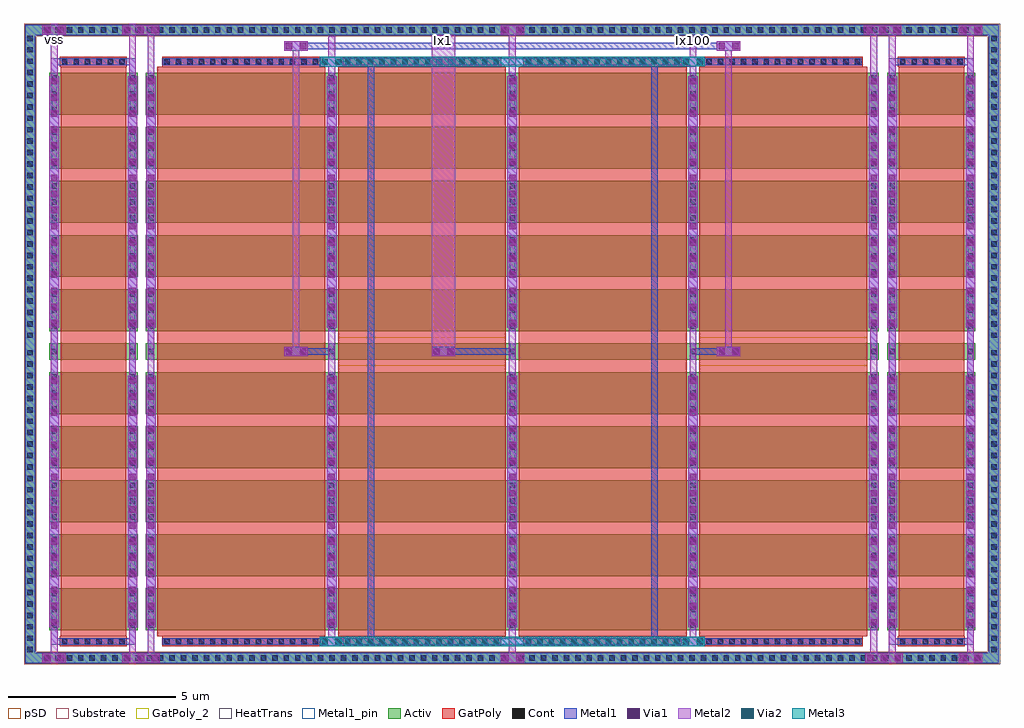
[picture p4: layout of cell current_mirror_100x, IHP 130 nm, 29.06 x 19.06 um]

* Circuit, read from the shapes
.subckt current_mirror_100x Ix1 Ix100 vss
XM1 vss vss vss vss sg13_lv_nmos w=1.25u l=1.95u m=20
XM2 vss vss vss vss sg13_lv_nmos w=0.5u l=1.95u m=2
XM3 Ix100 Ix100 vss vss sg13_lv_nmos w=1.25u l=5u m=40
XM4 n1 Ix100 vss vss sg13_lv_nmos w=0.5u l=5u m=2
XM5 Ix1 Ix100 n1 vss sg13_lv_nmos w=0.5u l=5u m=2
.ends

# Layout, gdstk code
import gdstk
lib = gdstk.Library(unit=1e-6, precision=1e-09)
def R(c, l, rs):  # rectangles x0, y0, x1, y1
    for r in rs: c.add(gdstk.rectangle(r[:2], r[2:], *l))
def A(c, l, x, y, w, h, nx, ny, dx, dy):  # array of equal rectangles
    R(c, l, [(x+i*dx, y+j*dy, x+i*dx+w, y+j*dy+h) for i in range(nx) for j in range(ny)])
def P(c, l, *ps):  # polygons
    for p in ps: c.add(gdstk.Polygon(p, *l))
Activ = (1, 0)
GatPoly = (5, 0)
GatPoly_2 = (5, 2)
Cont = (6, 0)
Metal1 = (8, 0)
Metal1_pin = (8, 2)
Metal2 = (10, 0)
pSD = (14, 0)
Via1 = (19, 0)
Via2 = (29, 0)
Metal3 = (30, 0)
Substrate = (40, 0)
HeatTrans = (51, 0)

nmos_9 = lib.new_cell('nmos$9')
A(nmos_9, Activ, 0, 0, 0.3, 0.3, 3, 1, 5.38, 0)
R(nmos_9, Activ, [(0,0,11.06,1.25)])
R(nmos_9, GatPoly, [(0.34,-0.18,5.34,1.43), (5.72,-0.18,10.72,1.43)])
R(nmos_9, GatPoly_2, [(0.34,-0.18,5.34,1.43)])
A(nmos_9, Cont, 0.07, 0.07, 0.16, 0.16, 3, 3, 5.38, 0.475)
A(nmos_9, Metal1, 0.07, 0, 0.16, 1.25, 3, 1, 5.38, 0)
R(nmos_9, Metal1_pin, [(0.07,0,0.23,1.25), (5.45,0,5.61,1.25)])
R(nmos_9, HeatTrans, [(0.34,-0.18,5.34,1.43), (5.72,-0.18,10.72,1.43)])
nmos_9.add(gdstk.Label('nmos', (2.84,0.625), layer=63, texttype=0))
nmos_9.add(gdstk.Label('nmos', (2.84,0.625), layer=51, texttype=0))
nmos_9.add(gdstk.Label('nmos', (8.22,0.625), layer=51, texttype=0))

nmos_10 = lib.new_cell('nmos$10')
R(nmos_10, Activ, [(0,0,0.3,0.3), (0,0,5.68,0.5), (5.38,0,5.68,0.3)])
R(nmos_10, GatPoly, [(0.34,-0.18,5.34,0.68)])
R(nmos_10, GatPoly_2, [(0.34,-0.18,5.34,0.68)])
R(nmos_10, Cont, [(0.07,0.17,0.23,0.33), (5.45,0.17,5.61,0.33)])
R(nmos_10, Metal1, [(0.07,0,0.23,0.5), (5.45,0,5.61,0.5)])
R(nmos_10, Metal1_pin, [(0.07,0,0.23,0.5), (5.45,0,5.61,0.5)])
R(nmos_10, HeatTrans, [(0.34,-0.18,5.34,0.68)])
nmos_10.add(gdstk.Label('nmos', (2.84,0.25), layer=63, texttype=0))
nmos_10.add(gdstk.Label('nmos', (2.84,0.25), layer=51, texttype=0))

via_stack_11 = lib.new_cell('via_stack$11')
R(via_stack_11, Metal1, [(-0.145,-3.745,0.145,3.745)])
R(via_stack_11, Metal2, [(-0.145,-3.745,0.145,3.745)])
A(via_stack_11, Via1, -0.095, -3.695, 0.19, 0.19, 1, 16, 0, 0.48)

via_stack_2 = lib.new_cell('via_stack$2')
R(via_stack_2, Metal1, [(-0.35,-0.145,0.35,0.145)])
R(via_stack_2, Metal2, [(-0.35,-0.145,0.35,0.145)])
R(via_stack_2, Via1, [(-0.3,-0.095,-0.11,0.095), (0.11,-0.095,0.3,0.095)])

nmos_11 = lib.new_cell('nmos$11')
R(nmos_11, Activ, [(0,0,0.3,0.3), (0,0,2.63,0.5), (2.33,0,2.63,0.3)])
R(nmos_11, GatPoly, [(0.34,-0.18,2.29,0.68)])
R(nmos_11, GatPoly_2, [(0.34,-0.18,2.29,0.68)])
R(nmos_11, Cont, [(0.07,0.17,0.23,0.33), (2.4,0.17,2.56,0.33)])
R(nmos_11, Metal1, [(0.07,0,0.23,0.5), (2.4,0,2.56,0.5)])
R(nmos_11, Metal1_pin, [(0.07,0,0.23,0.5), (2.4,0,2.56,0.5)])
R(nmos_11, HeatTrans, [(0.34,-0.18,2.29,0.68)])
nmos_11.add(gdstk.Label('nmos', (1.315,0.25), layer=63, texttype=0))
nmos_11.add(gdstk.Label('nmos', (1.315,0.25), layer=51, texttype=0))

via_stack_12 = lib.new_cell('via_stack$12')
R(via_stack_12, Metal1, [(-0.555,-0.145,0.555,0.145)])
R(via_stack_12, Metal2, [(-0.555,-0.145,0.555,0.145)])
A(via_stack_12, Via1, -0.505, -0.095, 0.19, 0.19, 3, 1, 0.41, 0)

via_stack_1 = lib.new_cell('via_stack$1')
R(via_stack_1, Metal1, [(-0.35,-0.145,0.35,0.145)])
R(via_stack_1, Metal2, [(-0.35,-0.145,0.35,0.145)])
R(via_stack_1, Via1, [(-0.3,-0.095,-0.11,0.095), (0.11,-0.095,0.3,0.095)])
R(via_stack_1, Via2, [(-0.3,-0.095,-0.11,0.095), (0.11,-0.095,0.3,0.095)])
R(via_stack_1, Metal3, [(-0.35,-0.145,0.35,0.145)])

viagpcont_m1_3 = lib.new_cell('ViaGPCont_M1$3')
R(viagpcont_m1_3, GatPoly, [(-1,-0.15,1,0.15)])
A(viagpcont_m1_3, Cont, -0.93, -0.08, 0.16, 0.16, 6, 1, 0.34, 0)
R(viagpcont_m1_3, Metal1, [(-0.98,-0.08,0.98,0.08)])

viagpcont_m1 = lib.new_cell('ViaGPCont_M1')
R(viagpcont_m1, GatPoly, [(-2.36,-0.15,2.36,0.15)])
A(viagpcont_m1, Cont, -2.29, -0.08, 0.16, 0.16, 14, 1, 0.34, 0)
R(viagpcont_m1, Metal1, [(-2.34,-0.08,2.34,0.08)])

nmos_12 = lib.new_cell('nmos$12')
R(nmos_12, Activ, [(0,0,0.3,0.3), (0,0,2.63,1.25), (2.33,0,2.63,0.3)])
R(nmos_12, GatPoly, [(0.34,-0.18,2.29,1.43)])
R(nmos_12, GatPoly_2, [(0.34,-0.18,2.29,1.43)])
A(nmos_12, Cont, 0.07, 0.07, 0.16, 0.16, 1, 3, 0, 0.475)
A(nmos_12, Cont, 2.4, 0.07, 0.16, 0.16, 1, 3, 0, 0.475)
R(nmos_12, Metal1, [(0.07,0,0.23,1.25), (2.4,0,2.56,1.25)])
R(nmos_12, Metal1_pin, [(0.07,0,0.23,1.25), (2.4,0,2.56,1.25)])
R(nmos_12, HeatTrans, [(0.34,-0.18,2.29,1.43)])
nmos_12.add(gdstk.Label('nmos', (1.315,0.625), layer=63, texttype=0))
nmos_12.add(gdstk.Label('nmos', (1.315,0.625), layer=51, texttype=0))

guardring_2 = lib.new_cell('Guardring$2')
P(guardring_2, Activ, [(-14.5,-9.5),(-14.5,9.2),(-14.2,9.2),(-14.2,-9.2),(14.2,-9.2),(14.2,9.2),(-14.5,9.2),(-14.5,9.5),(14.5,9.5),(14.5,-9.5)])
A(guardring_2, Cont, -13.94, -9.43, 0.16, 0.16, 41, 2, 0.34, 18.7)
A(guardring_2, Cont, 0.18, -9.43, 0.16, 0.16, 41, 2, 0.34, 18.7)
A(guardring_2, Cont, -14.43, -9.18, 0.16, 0.16, 1, 27, 0, 0.34)
A(guardring_2, Cont, 14.27, -9.18, 0.16, 0.16, 1, 27, 0, 0.34)
A(guardring_2, Cont, -14.43, 0.18, 0.16, 0.16, 1, 27, 0, 0.34)
A(guardring_2, Cont, 14.27, 0.18, 0.16, 0.16, 1, 27, 0, 0.34)
P(guardring_2, Metal1, [(-14.5,-9.5),(-14.5,9.2),(-14.2,9.2),(-14.2,-9.2),(14.2,-9.2),(14.2,9.2),(-14.5,9.2),(-14.5,9.5),(14.5,9.5),(14.5,-9.5)])
P(guardring_2, pSD, [(-14.53,-9.53),(-14.53,9.17),(-14.17,9.17),(-14.17,-9.17),(14.17,-9.17),(14.17,9.17),(-14.53,9.17),(-14.53,9.53),(14.53,9.53),(14.53,-9.53)])
P(guardring_2, Substrate, [(-14.53,-9.53),(-14.53,9.17),(-14.17,9.17),(-14.17,-9.17),(14.17,-9.17),(14.17,9.17),(-14.53,9.17),(-14.53,9.53),(14.53,9.53),(14.53,-9.53)])

current_mirror_100x = lib.new_cell('current_mirror_100x')
current_mirror_100x.add(gdstk.FlexPath([(3.23,1.005),(3.23,17.605)], 0.2, ends="flush", simple_path=True, layer=8, datatype=0))  # Metal1
current_mirror_100x.add(gdstk.FlexPath([(3.045,0.675),(0.8,0.675)], 0.2, ends="flush", simple_path=True, layer=8, datatype=0))  # Metal1
current_mirror_100x.add(gdstk.FlexPath([(3.045,17.935),(1.065,17.935)], 0.2, ends="flush", simple_path=True, layer=8, datatype=0))  # Metal1
current_mirror_100x.add(gdstk.FlexPath([(3.045,17.935),(0.8,17.935)], 0.2, ends="flush", simple_path=True, layer=8, datatype=0))  # Metal1
current_mirror_100x.add(gdstk.FlexPath([(0.9,17.605),(0.9,18.035)], 0.2, ends="flush", simple_path=True, layer=8, datatype=0))  # Metal1
current_mirror_100x.add(gdstk.FlexPath([(3.23,17.605),(3.23,18.035)], 0.2, ends="flush", simple_path=True, layer=8, datatype=0))  # Metal1
current_mirror_100x.add(gdstk.FlexPath([(3.045,17.935),(3.33,17.935)], 0.2, ends="flush", simple_path=True, layer=8, datatype=0))  # Metal1
current_mirror_100x.add(gdstk.FlexPath([(0.9,1.005),(0.9,0.575)], 0.2, ends="flush", simple_path=True, layer=8, datatype=0))  # Metal1
current_mirror_100x.add(gdstk.FlexPath([(3.23,1.005),(3.23,0.575)], 0.2, ends="flush", simple_path=True, layer=8, datatype=0))  # Metal1
current_mirror_100x.add(gdstk.FlexPath([(3.045,0.675),(3.33,0.675)], 0.2, ends="flush", simple_path=True, layer=8, datatype=0))  # Metal1
current_mirror_100x.add(gdstk.FlexPath([(0.9,17.605),(0.9,9.055),(0.9,8.695)], 0.2, ends="flush", simple_path=True, layer=8, datatype=0))  # Metal1
current_mirror_100x.add(gdstk.FlexPath([(28.18,9.055),(28.18,8.695),(28.18,8.695)], 0.2, ends="flush", simple_path=True, layer=8, datatype=0))  # Metal1
current_mirror_100x.add(gdstk.FlexPath([(25.85,9.915),(25.85,1.005),(25.85,1.005)], 0.2, ends="flush", simple_path=True, layer=8, datatype=0))  # Metal1
current_mirror_100x.add(gdstk.FlexPath([(25.85,9.915),(25.85,17.605)], 0.2, ends="flush", simple_path=True, layer=8, datatype=0))  # Metal1
current_mirror_100x.add(gdstk.FlexPath([(25.75,0.675),(28.28,0.675)], 0.2, ends="flush", simple_path=True, layer=8, datatype=0))  # Metal1
current_mirror_100x.add(gdstk.FlexPath([(28.18,1.005),(28.18,0.575)], 0.2, ends="flush", simple_path=True, layer=8, datatype=0))  # Metal1
current_mirror_100x.add(gdstk.FlexPath([(25.85,1.005),(25.85,0.575)], 0.2, ends="flush", simple_path=True, layer=8, datatype=0))  # Metal1
current_mirror_100x.add(gdstk.FlexPath([(25.75,17.935),(28.28,17.935)], 0.2, ends="flush", simple_path=True, layer=8, datatype=0))  # Metal1
current_mirror_100x.add(gdstk.FlexPath([(28.18,17.605),(28.18,18.035)], 0.2, ends="flush", simple_path=True, layer=8, datatype=0))  # Metal1
current_mirror_100x.add(gdstk.FlexPath([(25.85,17.605),(25.85,18.035)], 0.2, ends="flush", simple_path=True, layer=8, datatype=0))  # Metal1
current_mirror_100x.add(gdstk.FlexPath([(8,18.405),(21.08,18.405)], 0.2, ends="flush", simple_path=True, layer=8, datatype=0))  # Metal1
current_mirror_100x.add(gdstk.FlexPath([(10.33,17.935),(10.33,0.575)], 0.2, ends="flush", simple_path=True, layer=8, datatype=0))  # Metal1
current_mirror_100x.add(gdstk.FlexPath([(18.77,17.935),(18.77,0.575)], 0.2, ends="flush", simple_path=True, layer=8, datatype=0))  # Metal1
current_mirror_100x.add(gdstk.FlexPath([(14.54,9.305),(12.14,9.305)], 0.2, ends="flush", simple_path=True, layer=8, datatype=0))  # Metal1
current_mirror_100x.add(gdstk.FlexPath([(9.16,9.305),(8.1,9.305)], 0.2, ends="flush", simple_path=True, layer=8, datatype=0))  # Metal1
current_mirror_100x.add(gdstk.FlexPath([(20.98,9.305),(19.92,9.305)], 0.2, ends="flush", simple_path=True, layer=8, datatype=0))  # Metal1
current_mirror_100x.add(gdstk.FlexPath([(28.18,8.695),(28.18,1.005)], 0.2, ends="flush", simple_path=True, layer=8, datatype=0))  # Metal1
current_mirror_100x.add(gdstk.FlexPath([(4.13,0.675),(24.95,0.675)], 0.2, ends="flush", simple_path=True, layer=8, datatype=0))  # Metal1
current_mirror_100x.add(gdstk.FlexPath([(25.3,8.695),(25.3,1.005)], 0.2, ends="flush", simple_path=True, layer=8, datatype=0))  # Metal1
current_mirror_100x.add(gdstk.FlexPath([(25.3,17.605),(25.3,9.055)], 0.2, ends="flush", simple_path=True, layer=8, datatype=0))  # Metal1
current_mirror_100x.add(gdstk.FlexPath([(28.18,17.605),(28.18,9.055)], 0.2, ends="flush", simple_path=True, layer=8, datatype=0))  # Metal1
current_mirror_100x.add(gdstk.FlexPath([(4.13,17.935),(24.95,17.935)], 0.2, ends="flush", simple_path=True, layer=8, datatype=0))  # Metal1
current_mirror_100x.add(gdstk.FlexPath([(3.78,17.605),(3.78,9.915)], 0.2, ends="flush", simple_path=True, layer=8, datatype=0))  # Metal1
current_mirror_100x.add(gdstk.FlexPath([(9.16,17.605),(9.16,9.915)], 0.2, ends="flush", simple_path=True, layer=8, datatype=0))  # Metal1
current_mirror_100x.add(gdstk.FlexPath([(14.54,17.605),(14.54,9.915)], 0.2, ends="flush", simple_path=True, layer=8, datatype=0))  # Metal1
current_mirror_100x.add(gdstk.FlexPath([(19.92,17.605),(19.92,9.915)], 0.2, ends="flush", simple_path=True, layer=8, datatype=0))  # Metal1
current_mirror_100x.add(gdstk.FlexPath([(3.78,8.695),(3.78,1.005)], 0.2, ends="flush", simple_path=True, layer=8, datatype=0))  # Metal1
current_mirror_100x.add(gdstk.FlexPath([(9.16,8.695),(9.16,1.005)], 0.2, ends="flush", simple_path=True, layer=8, datatype=0))  # Metal1
current_mirror_100x.add(gdstk.FlexPath([(14.54,8.695),(14.54,1.005)], 0.2, ends="flush", simple_path=True, layer=8, datatype=0))  # Metal1
current_mirror_100x.add(gdstk.FlexPath([(19.92,8.695),(19.92,1.005)], 0.2, ends="flush", simple_path=True, layer=8, datatype=0))  # Metal1
current_mirror_100x.add(gdstk.FlexPath([(3.78,9.055),(3.78,9.915)], 0.2, ends="flush", simple_path=True, layer=8, datatype=0))  # Metal1
current_mirror_100x.add(gdstk.FlexPath([(0.9,8.695),(0.9,1.005)], 0.2, ends="flush", simple_path=True, layer=8, datatype=0))  # Metal1
current_mirror_100x.add(gdstk.FlexPath([(3.23,17.605),(3.23,19.06)], 0.2, ends="flush", simple_path=True, layer=10, datatype=0))  # Metal2
current_mirror_100x.add(gdstk.FlexPath([(3.23,17.605),(3.23,9.915)], 0.2, ends="flush", simple_path=True, layer=10, datatype=0))  # Metal2
current_mirror_100x.add(gdstk.FlexPath([(3.23,9.915),(3.23,8.695)], 0.2, ends="flush", simple_path=True, layer=10, datatype=0))  # Metal2
current_mirror_100x.add(gdstk.FlexPath([(3.23,8.695),(3.23,0.03)], 0.2, ends="flush", simple_path=True, layer=10, datatype=0))  # Metal2
current_mirror_100x.add(gdstk.FlexPath([(0.9,8.695),(0.9,0.03)], 0.2, ends="flush", simple_path=True, layer=10, datatype=0))  # Metal2
current_mirror_100x.add(gdstk.FlexPath([(25.85,17.605),(25.85,9.915)], 0.2, ends="flush", simple_path=True, layer=10, datatype=0))  # Metal2
current_mirror_100x.add(gdstk.FlexPath([(25.85,17.605),(25.85,19.025)], 0.2, ends="flush", simple_path=True, layer=10, datatype=0))  # Metal2
current_mirror_100x.add(gdstk.FlexPath([(25.85,9.915),(25.85,8.695),(25.85,8.695)], 0.2, ends="flush", simple_path=True, layer=10, datatype=0))  # Metal2
current_mirror_100x.add(gdstk.FlexPath([(25.85,8.695),(25.85,0.03)], 0.2, ends="flush", simple_path=True, layer=10, datatype=0))  # Metal2
current_mirror_100x.add(gdstk.FlexPath([(25.85,17.605),(25.85,9.915)], 0.2, ends="flush", simple_path=True, layer=10, datatype=0))  # Metal2
current_mirror_100x.add(gdstk.FlexPath([(28.18,8.695),(28.18,0.03)], 0.2, ends="flush", simple_path=True, layer=10, datatype=0))  # Metal2
current_mirror_100x.add(gdstk.FlexPath([(0.9,17.605),(0.9,19.06)], 0.2, ends="flush", simple_path=True, layer=10, datatype=0))  # Metal2
current_mirror_100x.add(gdstk.FlexPath([(12.49,9.16),(12.49,18.73)], 0.7, ends="flush", simple_path=True, layer=10, datatype=0))  # Metal2
current_mirror_100x.add(gdstk.FlexPath([(19.92,17.605),(19.92,18.7)], 0.2, ends="flush", simple_path=True, layer=10, datatype=0))  # Metal2
current_mirror_100x.add(gdstk.FlexPath([(9.16,17.605),(9.16,17.245)], 0.2, ends="flush", simple_path=True, layer=10, datatype=0))  # Metal2
current_mirror_100x.add(gdstk.FlexPath([(9.16,17.605),(9.16,18.7)], 0.2, ends="flush", simple_path=True, layer=10, datatype=0))  # Metal2
current_mirror_100x.add(gdstk.FlexPath([(8.1,9.305),(8.1,18.405)], 0.2, ends="flush", simple_path=True, layer=10, datatype=0))  # Metal2
current_mirror_100x.add(gdstk.FlexPath([(20.98,9.305),(20.98,18.405)], 0.2, ends="flush", simple_path=True, layer=10, datatype=0))  # Metal2
current_mirror_100x.add(gdstk.FlexPath([(14.54,17.605),(14.54,18.465),(14.54,19.025)], 0.2, ends="flush", simple_path=True, layer=10, datatype=0))  # Metal2
current_mirror_100x.add(gdstk.FlexPath([(3.78,17.605),(3.78,19.025)], 0.2, ends="flush", simple_path=True, layer=10, datatype=0))  # Metal2
current_mirror_100x.add(gdstk.FlexPath([(28.18,17.605),(28.18,19.025)], 0.2, ends="flush", simple_path=True, layer=10, datatype=0))  # Metal2
current_mirror_100x.add(gdstk.FlexPath([(25.3,17.605),(25.3,19.025)], 0.2, ends="flush", simple_path=True, layer=10, datatype=0))  # Metal2
current_mirror_100x.add(gdstk.FlexPath([(9.16,8.695),(9.16,0.575)], 0.2, ends="flush", simple_path=True, layer=10, datatype=0))  # Metal2
current_mirror_100x.add(gdstk.FlexPath([(19.92,1.005),(19.92,0.575)], 0.2, ends="flush", simple_path=True, layer=10, datatype=0))  # Metal2
current_mirror_100x.add(gdstk.FlexPath([(3.78,1.005),(3.78,0.035)], 0.2, ends="flush", simple_path=True, layer=10, datatype=0))  # Metal2
current_mirror_100x.add(gdstk.FlexPath([(14.54,1.005),(14.54,0.035)], 0.2, ends="flush", simple_path=True, layer=10, datatype=0))  # Metal2
current_mirror_100x.add(gdstk.FlexPath([(25.3,1.005),(25.3,0.035)], 0.2, ends="flush", simple_path=True, layer=10, datatype=0))  # Metal2
current_mirror_100x.add(gdstk.FlexPath([(28.18,17.605),(28.18,9.915)], 0.2, ends="flush", simple_path=True, layer=10, datatype=0))  # Metal2
current_mirror_100x.add(gdstk.FlexPath([(28.18,9.915),(28.18,8.695),(28.18,8.695)], 0.2, ends="flush", simple_path=True, layer=10, datatype=0))  # Metal2
current_mirror_100x.add(gdstk.FlexPath([(0.9,17.605),(0.9,9.915)], 0.2, ends="flush", simple_path=True, layer=10, datatype=0))  # Metal2
current_mirror_100x.add(gdstk.FlexPath([(0.9,9.915),(0.9,8.695)], 0.2, ends="flush", simple_path=True, layer=10, datatype=0))  # Metal2
current_mirror_100x.add(gdstk.FlexPath([(9.16,17.605),(9.16,17.59),(9.16,9.915)], 0.2, ends="flush", simple_path=True, layer=10, datatype=0))  # Metal2
current_mirror_100x.add(gdstk.FlexPath([(19.92,17.605),(19.92,9.915)], 0.2, ends="flush", simple_path=True, layer=10, datatype=0))  # Metal2
current_mirror_100x.add(gdstk.FlexPath([(3.78,17.605),(3.78,9.915)], 0.2, ends="flush", simple_path=True, layer=10, datatype=0))  # Metal2
current_mirror_100x.add(gdstk.FlexPath([(14.54,17.605),(14.54,9.915)], 0.2, ends="flush", simple_path=True, layer=10, datatype=0))  # Metal2
current_mirror_100x.add(gdstk.FlexPath([(25.3,17.605),(25.3,9.915)], 0.2, ends="flush", simple_path=True, layer=10, datatype=0))  # Metal2
current_mirror_100x.add(gdstk.FlexPath([(3.78,8.695),(3.78,1.005)], 0.2, ends="flush", simple_path=True, layer=10, datatype=0))  # Metal2
current_mirror_100x.add(gdstk.FlexPath([(14.54,8.695),(14.54,1.005)], 0.2, ends="flush", simple_path=True, layer=10, datatype=0))  # Metal2
current_mirror_100x.add(gdstk.FlexPath([(25.3,8.695),(25.3,1.005)], 0.2, ends="flush", simple_path=True, layer=10, datatype=0))  # Metal2
current_mirror_100x.add(gdstk.FlexPath([(3.78,9.915),(3.78,8.695)], 0.2, ends="flush", simple_path=True, layer=10, datatype=0))  # Metal2
current_mirror_100x.add(gdstk.FlexPath([(19.92,8.695),(19.92,1.005)], 0.2, ends="flush", simple_path=True, layer=10, datatype=0))  # Metal2
current_mirror_100x.add(gdstk.FlexPath([(19.92,9.915),(19.92,8.695)], 0.2, ends="flush", simple_path=True, layer=10, datatype=0))  # Metal2
current_mirror_100x.add(gdstk.FlexPath([(9.16,9.915),(9.16,8.695)], 0.2, ends="flush", simple_path=True, layer=10, datatype=0))  # Metal2
current_mirror_100x.add(gdstk.FlexPath([(14.54,9.915),(14.54,8.695)], 0.2, ends="flush", simple_path=True, layer=10, datatype=0))  # Metal2
current_mirror_100x.add(gdstk.FlexPath([(25.3,9.915),(25.3,8.695),(25.3,8.695)], 0.2, ends="flush", simple_path=True, layer=10, datatype=0))  # Metal2
current_mirror_100x.add(gdstk.FlexPath([(9.06,17.935),(20.02,17.935)], 0.29, ends="flush", simple_path=True, layer=30, datatype=0))  # Metal3
current_mirror_100x.add(gdstk.FlexPath([(9.06,0.675),(20.02,0.675)], 0.29, ends="flush", simple_path=True, layer=30, datatype=0))  # Metal3
current_mirror_100x.add(gdstk.Reference(nmos_9, (3.63,14.745)))
current_mirror_100x.add(gdstk.Reference(nmos_9, (3.63,11.525)))
current_mirror_100x.add(gdstk.Reference(nmos_9, (3.63,13.135)))
current_mirror_100x.add(gdstk.Reference(nmos_9, (14.39,14.745)))
current_mirror_100x.add(gdstk.Reference(nmos_9, (14.39,16.355)))
current_mirror_100x.add(gdstk.Reference(nmos_9, (14.39,11.525)))
current_mirror_100x.add(gdstk.Reference(nmos_9, (14.39,13.135)))
current_mirror_100x.add(gdstk.Reference(nmos_9, (14.39,9.915)))
current_mirror_100x.add(gdstk.Reference(nmos_9, (14.39,1.005)))
current_mirror_100x.add(gdstk.Reference(nmos_9, (14.39,4.225)))
current_mirror_100x.add(gdstk.Reference(nmos_9, (14.39,2.615)))
current_mirror_100x.add(gdstk.Reference(nmos_9, (14.39,7.445)))
current_mirror_100x.add(gdstk.Reference(nmos_9, (14.39,5.835)))
current_mirror_100x.add(gdstk.Reference(nmos_9, (3.63,1.005)))
current_mirror_100x.add(gdstk.Reference(nmos_9, (3.63,4.225)))
current_mirror_100x.add(gdstk.Reference(nmos_9, (3.63,2.615)))
current_mirror_100x.add(gdstk.Reference(nmos_9, (3.63,7.445)))
current_mirror_100x.add(gdstk.Reference(nmos_9, (3.63,5.835)))
current_mirror_100x.add(gdstk.Reference(nmos_9, (3.63,9.915)))
current_mirror_100x.add(gdstk.Reference(nmos_10, (14.39,9.055)))
current_mirror_100x.add(gdstk.Reference(nmos_10, (9.01,9.055)))
current_mirror_100x.add(gdstk.Reference(via_stack_11, (14.54,13.755)))
current_mirror_100x.add(gdstk.Reference(via_stack_11, (14.54,4.845)))
current_mirror_100x.add(gdstk.Reference(via_stack_2, (12.49,9.305)))
current_mirror_100x.add(gdstk.Reference(via_stack_2, (8.1,9.305)))
current_mirror_100x.add(gdstk.Reference(nmos_9, (3.63,16.355)))
current_mirror_100x.add(gdstk.Reference(via_stack_2, (14.54,0.18)))
current_mirror_100x.add(gdstk.Reference(nmos_11, (25.7,9.055)))
current_mirror_100x.add(gdstk.Reference(nmos_11, (0.75,9.055)))
current_mirror_100x.add(gdstk.Reference(via_stack_12, (25.565,18.88)))
current_mirror_100x.add(gdstk.Reference(via_stack_2, (20.98,9.305)))
current_mirror_100x.add(gdstk.Reference(via_stack_1, (19.92,17.94)))
current_mirror_100x.add(gdstk.Reference(via_stack_11, (25.3,13.755)))
current_mirror_100x.add(gdstk.Reference(via_stack_11, (19.92,13.755)))
current_mirror_100x.add(gdstk.Reference(via_stack_11, (28.18,13.755)))
current_mirror_100x.add(gdstk.Reference(via_stack_2, (28.18,18.88)))
current_mirror_100x.add(gdstk.Reference(viagpcont_m1_3, (27.015,17.935)))
current_mirror_100x.add(gdstk.Reference(viagpcont_m1, (17.23,17.935)))
current_mirror_100x.add(gdstk.Reference(viagpcont_m1, (22.61,17.935)))
current_mirror_100x.add(gdstk.Reference(via_stack_1, (9.16,17.935)))
current_mirror_100x.add(gdstk.Reference(via_stack_11, (3.78,13.755)))
current_mirror_100x.add(gdstk.Reference(viagpcont_m1, (6.47,17.935)))
current_mirror_100x.add(gdstk.Reference(via_stack_2, (0.9,18.88)))
current_mirror_100x.add(gdstk.Reference(via_stack_12, (3.475,18.88)))
current_mirror_100x.add(gdstk.Reference(viagpcont_m1_3, (2.065,17.935)))
current_mirror_100x.add(gdstk.Reference(viagpcont_m1, (11.85,17.935)))
current_mirror_100x.add(gdstk.Reference(via_stack_11, (9.16,13.755)))
current_mirror_100x.add(gdstk.Reference(viagpcont_m1, (11.85,0.675)))
current_mirror_100x.add(gdstk.Reference(via_stack_2, (14.54,18.88)))
current_mirror_100x.add(gdstk.Reference(nmos_10, (3.63,9.055)))
current_mirror_100x.add(gdstk.Reference(via_stack_2, (8.1,18.405)))
current_mirror_100x.add(gdstk.Reference(via_stack_11, (3.78,4.845)))
current_mirror_100x.add(gdstk.Reference(via_stack_11, (0.9,4.845)))
current_mirror_100x.add(gdstk.Reference(via_stack_2, (20.98,18.405)))
current_mirror_100x.add(gdstk.Reference(via_stack_12, (3.485,0.18)))
current_mirror_100x.add(gdstk.Reference(via_stack_11, (9.16,4.845)))
current_mirror_100x.add(gdstk.Reference(viagpcont_m1, (6.47,0.675)))
current_mirror_100x.add(gdstk.Reference(via_stack_1, (9.16,0.675)))
current_mirror_100x.add(gdstk.Reference(via_stack_12, (25.605,0.18)))
current_mirror_100x.add(gdstk.Reference(viagpcont_m1, (17.23,0.675)))
current_mirror_100x.add(gdstk.Reference(via_stack_11, (28.18,4.845)))
current_mirror_100x.add(gdstk.Reference(viagpcont_m1, (22.61,0.675)))
current_mirror_100x.add(gdstk.Reference(via_stack_11, (25.3,4.845)))
current_mirror_100x.add(gdstk.Reference(viagpcont_m1_3, (27.015,0.675)))
current_mirror_100x.add(gdstk.Reference(via_stack_11, (19.92,4.845)))
current_mirror_100x.add(gdstk.Reference(via_stack_1, (19.92,0.675)))
current_mirror_100x.add(gdstk.Reference(nmos_10, (19.77,9.055)))
current_mirror_100x.add(gdstk.Reference(nmos_12, (25.7,1.005)))
current_mirror_100x.add(gdstk.Reference(nmos_12, (25.7,2.615)))
current_mirror_100x.add(gdstk.Reference(nmos_12, (25.7,4.225)))
current_mirror_100x.add(gdstk.Reference(nmos_12, (25.7,5.835)))
current_mirror_100x.add(gdstk.Reference(nmos_12, (25.7,7.445)))
current_mirror_100x.add(gdstk.Reference(nmos_12, (0.75,1.005)))
current_mirror_100x.add(gdstk.Reference(nmos_12, (0.75,2.615)))
current_mirror_100x.add(gdstk.Reference(nmos_12, (0.75,4.225)))
current_mirror_100x.add(gdstk.Reference(nmos_12, (0.75,5.835)))
current_mirror_100x.add(gdstk.Reference(nmos_12, (0.75,7.445)))
current_mirror_100x.add(gdstk.Reference(nmos_12, (0.75,9.915)))
current_mirror_100x.add(gdstk.Reference(nmos_12, (0.75,11.525)))
current_mirror_100x.add(gdstk.Reference(nmos_12, (0.75,13.135)))
current_mirror_100x.add(gdstk.Reference(nmos_12, (0.75,14.745)))
current_mirror_100x.add(gdstk.Reference(nmos_12, (0.75,16.355)))
current_mirror_100x.add(gdstk.Reference(nmos_12, (25.7,9.915)))
current_mirror_100x.add(gdstk.Reference(nmos_12, (25.7,11.525)))
current_mirror_100x.add(gdstk.Reference(nmos_12, (25.7,13.135)))
current_mirror_100x.add(gdstk.Reference(nmos_12, (25.7,14.745)))
current_mirror_100x.add(gdstk.Reference(guardring_2, (14.53,9.53)))
current_mirror_100x.add(gdstk.Reference(nmos_12, (25.7,16.355)))
current_mirror_100x.add(gdstk.Reference(viagpcont_m1_3, (2.065,0.675)))
current_mirror_100x.add(gdstk.Reference(via_stack_11, (0.9,13.755)))
current_mirror_100x.add(gdstk.Reference(via_stack_11, (3.23,13.755)))
current_mirror_100x.add(gdstk.Reference(via_stack_11, (3.23,4.845)))
current_mirror_100x.add(gdstk.Reference(via_stack_2, (0.9,0.18)))
current_mirror_100x.add(gdstk.Reference(via_stack_11, (25.85,13.755)))
current_mirror_100x.add(gdstk.Reference(via_stack_11, (25.85,4.845)))
current_mirror_100x.add(gdstk.Reference(via_stack_2, (28.18,0.18)))
current_mirror_100x.add(gdstk.Label('vss', (0.9,18.6), layer=10, texttype=25))
current_mirror_100x.add(gdstk.Label('Ix1', (12.49,18.57), layer=10, texttype=25))
current_mirror_100x.add(gdstk.Label('Ix100', (19.92,18.58), layer=10, texttype=25))

lib.write_gds('current_mirror_100x.gds')
